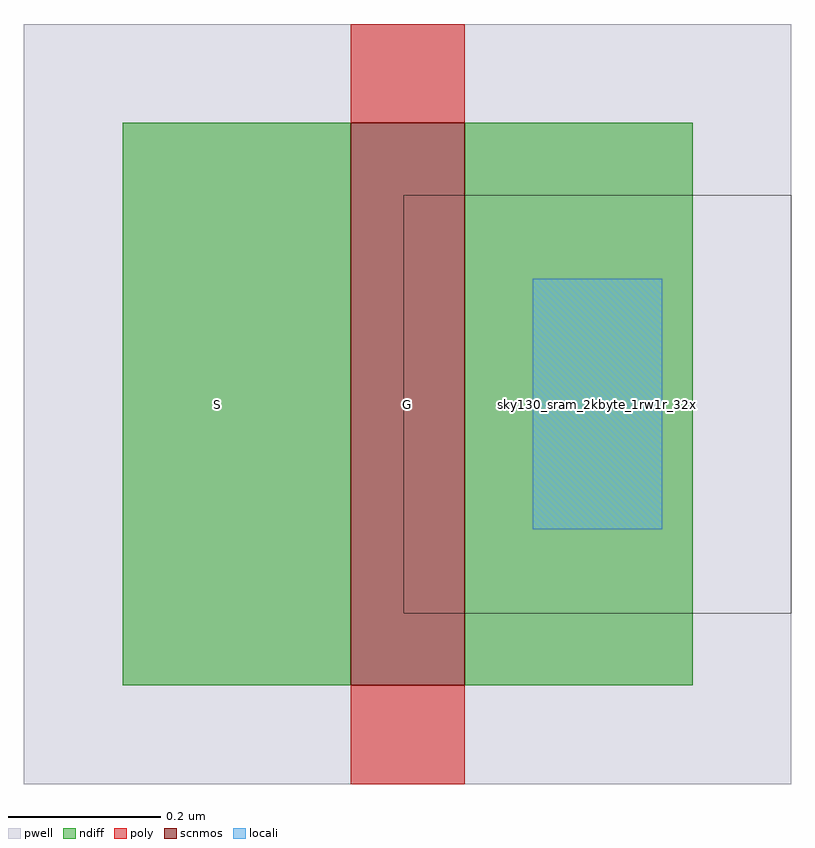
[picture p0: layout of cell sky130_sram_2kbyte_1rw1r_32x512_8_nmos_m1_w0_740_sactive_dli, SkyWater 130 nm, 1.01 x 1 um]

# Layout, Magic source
magic
tech sky130A
magscale 1 2
<< pwell >>
rect -26 -26 176 174
<< scnmos >>
rect 60 0 90 148
<< ndiff >>
rect 0 0 60 148
rect 90 0 150 148
<< poly >>
rect 60 148 90 174
rect 60 -26 90 0
<< locali >>
rect 108 41 142 107
use sky130_sram_2kbyte_1rw1r_32x512_8_contact_11  sky130_sram_2kbyte_1rw1r_32x512_8_contact_11_0
transform 1 0 100 0 1 41
box -26 -22 76 88
<< labels >>
rlabel locali s 125 74 125 74 4 D
rlabel poly s 75 74 75 74 4 G
rlabel mvpsubdiff s 25 74 25 74 4 S
<< properties >>
string FIXED_BBOX -25 -26 175 174
<< end >>
